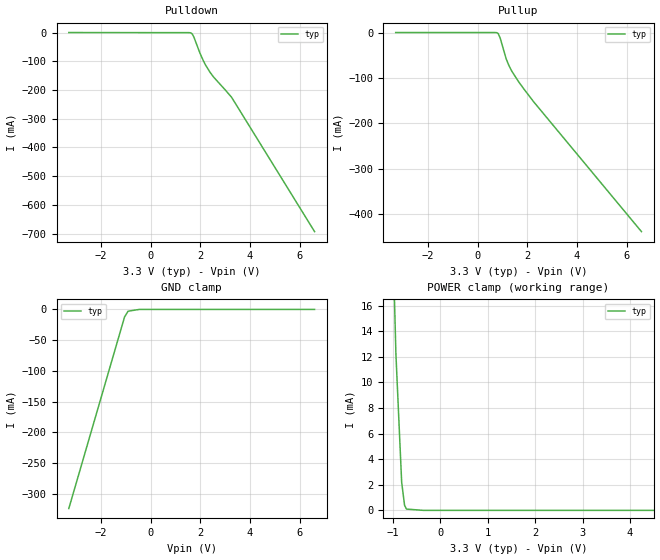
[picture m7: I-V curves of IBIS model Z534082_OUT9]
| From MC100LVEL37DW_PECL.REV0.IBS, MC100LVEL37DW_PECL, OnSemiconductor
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| (C) COPYRIGHT 1993-2000
| MENTOR GRAPHICS CORPORATION
| ICX STANDARD LIBRARY, ICX PROJECT MODELING,
| ICX CUSTOM MODELING, ICX VENDOR MODEL
| ALL RIGHTS RESERVED.
| THE FOLLOWING ARE TRADEMARKS OR SERVICE MARKS OF
| MENTOR GRAPHICS CORPORATION:ICX (R), ICX STANDARD
| LIBRARY(R), ICX PROJECT MODELING(R), ICX CUSTOM
| MODELING(R), qualityIBIS(TM), MODELVIEWER(TM),
| AND MODELEDITOR(TM)
| ALL COPIES OF SOFTWARE, INCLUDING BUT NOT LIMITED TO
| ANY MODIFICATIONS, ENHANCEMENTS OR DERIVATIVE WORKS,
| MUST CONTAIN ALL MENTOR GRAPHICS CORPORATION'S
| NOTICES AND LEGENDS, INCLUDING THOSE EMBEDDED IN
| SOFTWARE AND THOSE AFFIXED TO SOFTWARE MEDIUM
| AND CONTAINER, AS RECEIVED FROM MENTOR GRAPHICS
| CORPORATION.
| Model Application Version 1.89 2/18/99.
[Model] Z534082_OUT9
Model_type Output_ECL
Vref=1.300V
Rref=50.00ohms
Cref=0.000F
Vmeas=2.207V
C_comp 8.000pF NA NA
| variable typ   min   max
[Voltage Range] 3.300V NA NA
[POWER Clamp Reference] 3.300V NA NA
[Pullup Reference] 3.300V NA NA
[Pulldown Reference] 3.300V NA NA
[GND Clamp Reference] 0.000V NA NA
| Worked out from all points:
|   POWER clamp passes 1 mA (typ) near -0.77 V on its own axis
[GND Clamp]
-3.3V     -324.2mA   NA         NA
-1.053V   -12.1mA    NA         NA
-912mV    -2.904mA   NA         NA
-456mV    0A         NA         NA
6.6V      0A         NA         NA
[Pulldown]
-3.3V     332uA      NA         NA
1.638V    -2mA       NA         NA
1.74V     -15.9mA    NA         NA
1.983V    -71.6mA    NA         NA
2.125V    -99mA      NA         NA
2.389V    -138.1mA   NA         NA
2.53V     -154.6mA   NA         NA
3.26V     -225.6mA   NA         NA
6.6V      -693.2mA   NA         NA
[Pullup]
-3.3V     0A         NA         NA
706mV     0A         NA         NA
827mV     -2.2mA     NA         NA
909mV     -12.1mA    NA         NA
1.152V    -58.2mA    NA         NA
1.253V    -71.7mA    NA         NA
1.375V    -84.9mA    NA         NA
1.659V    -108.9mA   NA         NA
2.267V    -153.1mA   NA         NA
6.6V      -438.3mA   NA         NA
[POWER Clamp]
-3.3V     574.5mA    NA         NA
-1.037V   26.4mA     NA         NA
-936mV    12.2mA     NA         NA
-815mV    2.2mA      NA         NA
-754mV    400uA      NA         NA
-713mV    100uA      NA         NA
-356.5mV  0A         NA         NA
6.6V      0A         NA         NA
[Ramp]
| variable typ min max
dV/dt_r 382.1m/581.4p NA NA
dV/dt_f 382.1m/453.1p NA NA
R_load = 50.00Ohms
